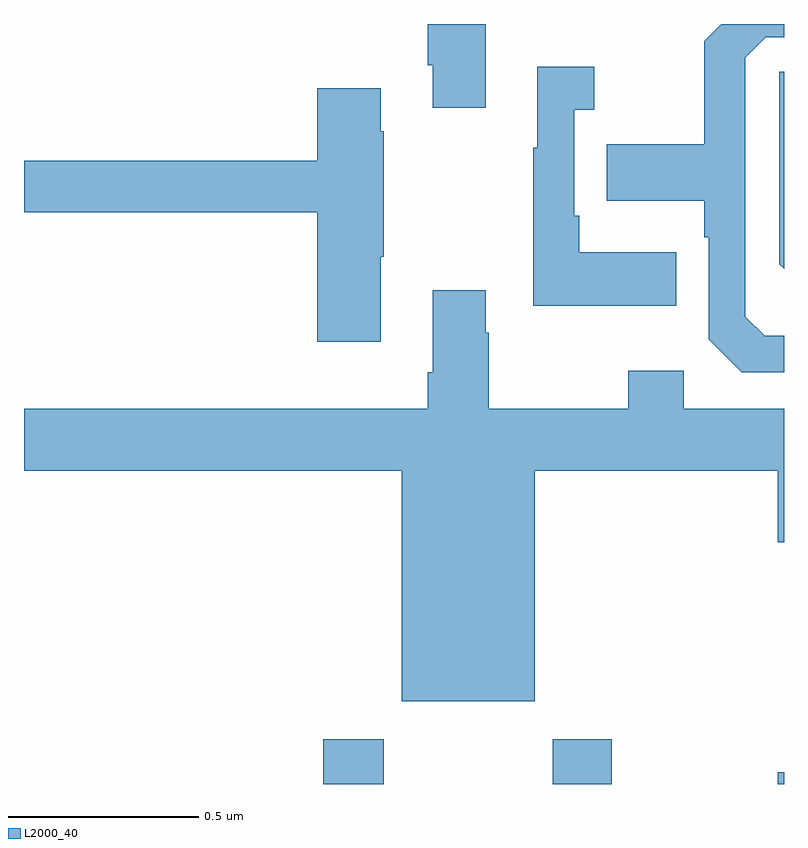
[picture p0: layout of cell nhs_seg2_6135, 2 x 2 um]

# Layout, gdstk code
import gdstk
lib = gdstk.Library(unit=1e-6, precision=1e-09)
def R(c, l, rs):  # rectangles x0, y0, x1, y1
    for r in rs: c.add(gdstk.rectangle(r[:2], r[2:], *l))
def P(c, l, *ps):  # polygons
    for p in ps: c.add(gdstk.Polygon(p, *l))
L2000_40 = (2000, 40)

nhs_seg2_6135 = lib.new_cell('nhs_seg2_6135')
R(nhs_seg2_6135, L2000_40, [(187.787,658.8,187.947,658.918), (188.392,658.8,188.547,658.918), (188.984,658.8,189,658.831)])
P(nhs_seg2_6135, L2000_40, [(188.215,660.8),(188.063,660.8),(188.063,660.691),(188.075,660.691),(188.075,660.579),(188.215,660.579)],
  [(189,659.979),(188.949,659.979),(188.898,660.03),(188.898,660.711),(188.952,660.765),(189,660.765),(189,660.8),(188.835,660.8),(188.79,660.755),(188.79,660.483),(188.533,660.483),(188.533,660.335),(188.79,660.335),(188.79,660.239),(188.802,660.239),(188.802,659.97),(188.889,659.883),(189,659.883)],
  [(188.717,660.199),(188.461,660.199),(188.461,660.295),(188.448,660.295),(188.448,660.575),(188.5,660.575),(188.5,660.688),(188.351,660.688),(188.351,660.475),(188.34,660.475),(188.34,660.059),(188.717,660.059)],
  [(189,660.675),(188.988,660.675),(188.988,660.168),(189,660.156)],
  [(187.939,660.187),(187.947,660.187),(187.947,660.518),(187.939,660.518),(187.939,660.631),(187.772,660.631),(187.772,660.44),(187,660.44),(187,660.304),(187.772,660.304),(187.772,659.964),(187.939,659.964)],
  [(188.344,659.624),(188.984,659.624),(188.984,659.436),(189,659.436),(189,659.788),(188.736,659.788),(188.736,659.887),(188.59,659.887),(188.59,659.788),(188.223,659.788),(188.223,659.987),(188.215,659.987),(188.215,660.1),(188.075,660.1),(188.075,659.884),(188.063,659.884),(188.063,659.788),(187,659.788),(187,659.624),(187.994,659.624),(187.994,659.018),(188.344,659.018)])

lib.write_gds('nhs_seg2_6135.gds')
